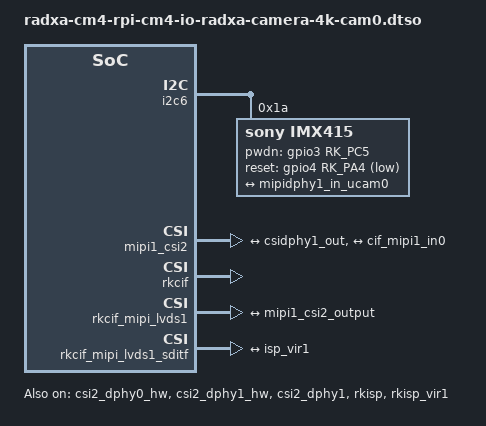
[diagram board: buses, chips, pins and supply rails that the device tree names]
/dts-v1/;
/plugin/;

#include <dt-bindings/clock/rockchip,rk3576-cru.h>
#include <dt-bindings/power/rockchip,rk3576-power.h>
#include <dt-bindings/gpio/gpio.h>
#include <dt-bindings/pinctrl/rockchip.h>

/ {
	metadata {
		title = "Enable Radxa Camera 4K on CAM0";
		compatible = "radxa,cm4-rpi-cm4-io";
		category = "camera";
		exclusive = "GPIO3_C5", "GPIO4_A4", "csi2_dphy1", "i2c6";
		description = "Enable Radxa Camera 4K on CAM0.";
	};
};

&i2c6 {
	status = "okay";
	pinctrl-names = "default";
	pinctrl-0 = <&i2c6m3_xfer>;
	#address-cells = <1>;
	#size-cells = <0>;

	imx415: imx415@1a {
		status = "okay";
		compatible = "sony,imx415";
		reg = <0x1a>;
		clocks = <&cru CLK_MIPI_CAMERAOUT_M2>;
		clock-names = "xvclk";
		pinctrl-names = "default";
		pinctrl-0 = <&cam_clk2m0_clk2>;
		power-domains = <&power RK3576_PD_VI>;
		pwdn-gpios = <&gpio3 RK_PC5 GPIO_ACTIVE_HIGH>;
		reset-gpios = <&gpio4 RK_PA4 GPIO_ACTIVE_LOW>;
		rockchip,camera-module-index = <0>;
		rockchip,camera-module-facing = "back";
		rockchip,camera-module-name = "RADXA-CAMERA-4K";
		rockchip,camera-module-lens-name = "DEFAULT";

		port {
			imx415_out0: endpoint {
				remote-endpoint = <&mipidphy1_in_ucam0>;
				data-lanes = <1 2>;
			};
		};
	};
};

&csi2_dphy0_hw {
	status = "okay";
};

&csi2_dphy1_hw {
	status = "okay";
};

&csi2_dphy1 {
	status = "okay";

	ports {
		#address-cells = <1>;
		#size-cells = <0>;

		port@0 {
			reg = <0>;
			#address-cells = <1>;
			#size-cells = <0>;

			mipidphy1_in_ucam0: endpoint@1 {
				reg = <1>;
				remote-endpoint = <&imx415_out0>;
				data-lanes = <1 2>;
			};
		};

		port@1 {
			reg = <1>;
			#address-cells = <1>;
			#size-cells = <0>;

			csidphy1_out: endpoint@0 {
				reg = <0>;
				remote-endpoint = <&mipi1_csi2_input>;
			};
		};
	};
};

&mipi1_csi2 {
	status = "okay";

	ports {
		#address-cells = <1>;
		#size-cells = <0>;

		port@0 {
			reg = <0>;
			#address-cells = <1>;
			#size-cells = <0>;

			mipi1_csi2_input: endpoint@1 {
				reg = <1>;
				remote-endpoint = <&csidphy1_out>;
			};
		};

		port@1 {
			reg = <1>;
			#address-cells = <1>;
			#size-cells = <0>;

			mipi1_csi2_output: endpoint@0 {
				reg = <0>;
				remote-endpoint = <&cif_mipi1_in0>;
			};
		};
	};
};

&rkcif {
	status = "okay";
};

&rkcif_mmu {
	status = "okay";
};

&rkcif_mipi_lvds1 {
	status = "okay";

	port {
		cif_mipi1_in0: endpoint {
			remote-endpoint = <&mipi1_csi2_output>;
		};
	};
};

&rkcif_mipi_lvds1_sditf {
	status = "okay";

	port {
		mipi_lvds1_sditf: endpoint {
			remote-endpoint = <&isp_vir1>;
		};
	};
};

&rkisp {
	status = "okay";
};

&rkisp_mmu {
	status = "okay";
};

&rkisp_vir1 {
	status = "okay";

	port {
		#address-cells = <1>;
		#size-cells = <0>;

		isp_vir1: endpoint@0 {
			reg = <0>;
			remote-endpoint = <&mipi_lvds1_sditf>;
		};
	};
};
